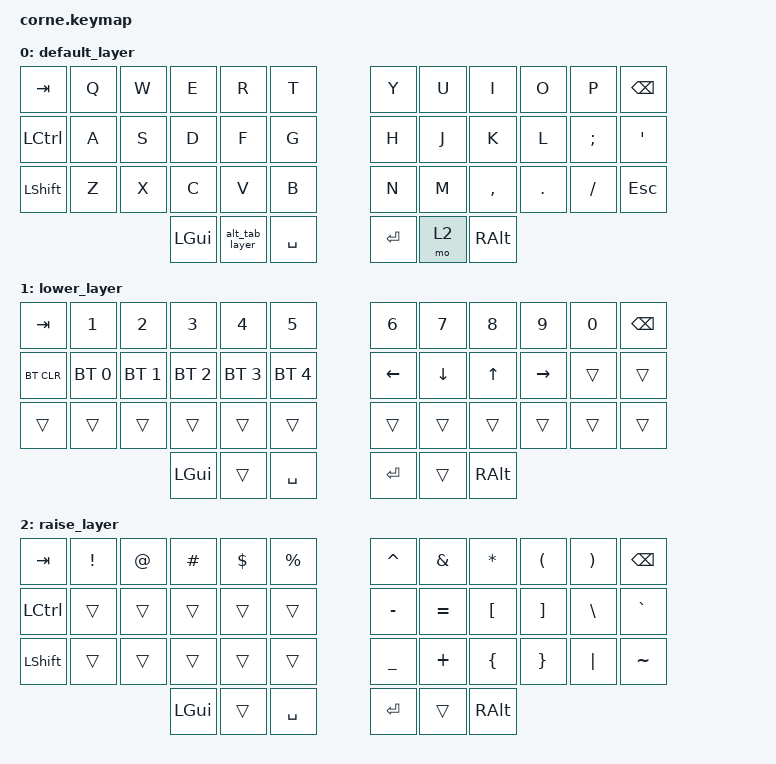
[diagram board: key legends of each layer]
/*
 * Copyright (c) 2020 The ZMK Contributors
 *
 * SPDX-License-Identifier: MIT
 */

#include <behaviors.dtsi>
#include <dt-bindings/zmk/keys.h>
#include <dt-bindings/zmk/bt.h>

/ {
        macros {
                alt_tab_layer: alt_tab_layer {
                        compatible = "zmk,behavior-macro";
                        #binding-cells = <0>;
                        display-name = "Alt-Tab Layer";
                        wait-ms = <0>;
                        tap-ms = <0>;

                        bindings =
                                <&macro_press &mo 1 &kp LALT>,
                                <&macro_pause_for_release>,
                                <&macro_release &mo 1 &kp LALT>;
                };
        };

        keymap {
                compatible = "zmk,keymap";

                default_layer {
// -----------------------------------------------------------------------------------------
// |  TAB |  Q  |  W  |  E  |  R  |  T  |   |  Y  |  U   |  I  |  O  |  P  | BKSP |
// | CTRL |  A  |  S  |  D  |  F  |  G  |   |  H  |  J   |  K  |  L  |  ;  |  '   |
// | SHFT |  Z  |  X  |  C  |  V  |  B  |   |  N  |  M   |  ,  |  .  |  /  | ESC  |
//                    | GUI | ALT+L1 | SPC |   | ENT | RSE  | ALT |
                        bindings = <
   &kp TAB   &kp Q &kp W &kp E &kp R &kp T   &kp Y &kp U  &kp I     &kp O   &kp P    &kp BSPC
   &kp LCTRL &kp A &kp S &kp D &kp F &kp G   &kp H &kp J  &kp K     &kp L   &kp SEMI &kp SQT
   &kp LSHFT &kp Z &kp X &kp C &kp V &kp B   &kp N &kp M  &kp COMMA &kp DOT &kp FSLH &kp ESC
                  &kp LGUI &alt_tab_layer &kp SPACE   &kp RET &mo 2 &kp RALT
                        >;
                };
                lower_layer {
// -----------------------------------------------------------------------------------------
// |  TAB |  1  |  2  |  3  |  4  |  5  |   |  6  |  7  |  8  |  9  |  0  | BKSP |
// | BTCLR| BT1 | BT2 | BT3 | BT4 | BT5 |   | LFT | DWN |  UP | RGT |     |      |
// | SHFT |     |     |     |     |     |   |     |     |     |     |     |      |
//                    | GUI |     | SPC |   | ENT |     | ALT |
                        bindings = <
   &kp TAB    &kp N1       &kp N2       &kp N3       &kp N4       &kp N5         &kp N6   &kp N7   &kp N8 &kp N9    &kp N0 &kp BSPC
   &bt BT_CLR &bt BT_SEL 0 &bt BT_SEL 1 &bt BT_SEL 2 &bt BT_SEL 3 &bt BT_SEL 4   &kp LEFT &kp DOWN &kp UP &kp RIGHT &trans &trans
   &trans  &trans       &trans       &trans       &trans       &trans         &trans   &trans   &trans &trans    &trans &trans
                                    &kp LGUI     &trans       &kp SPACE      &kp RET  &trans   &kp RALT
                        >;
                };

                raise_layer {
// -----------------------------------------------------------------------------------------
// |  TAB |  !  |  @  |  #  |  $  |  %  |   |  ^  |  &  |  *  |  (  |  )  | BKSP |
// | CTRL |     |     |     |     |     |   |  -  |  =  |  [  |  ]  |  \  |  `   |
// | SHFT |     |     |     |     |     |   |  _  |  +  |  {  |  }  | "|" |  ~   |
//                    | GUI |     | SPC |   | ENT |     | ALT |
                        bindings = <
   &kp  TAB  &kp EXCL &kp AT &kp HASH &kp DLLR &kp PRCNT   &kp CARET &kp AMPS  &kp ASTRK &kp LPAR &kp RPAR &kp BSPC
   &kp LCTRL &trans   &trans &trans   &trans   &trans      &kp MINUS &kp EQUAL &kp LBKT  &kp RBKT &kp BSLH &kp GRAVE
   &kp LSHFT &trans   &trans &trans   &trans   &trans      &kp UNDER &kp PLUS  &kp LBRC  &kp RBRC &kp PIPE &kp TILDE
                             &kp LGUI &trans   &kp SPACE   &kp RET   &trans    &kp RALT
                        >;
                };
        };
};

/* Disable the unused OLED controller and its bus on both keyboard halves. */
/ {
    chosen {
        /delete-property/ zephyr,display;
    };
};

&oled { status = "disabled"; };
&pro_micro_i2c { status = "disabled"; };
&spi3 { status = "disabled"; };
